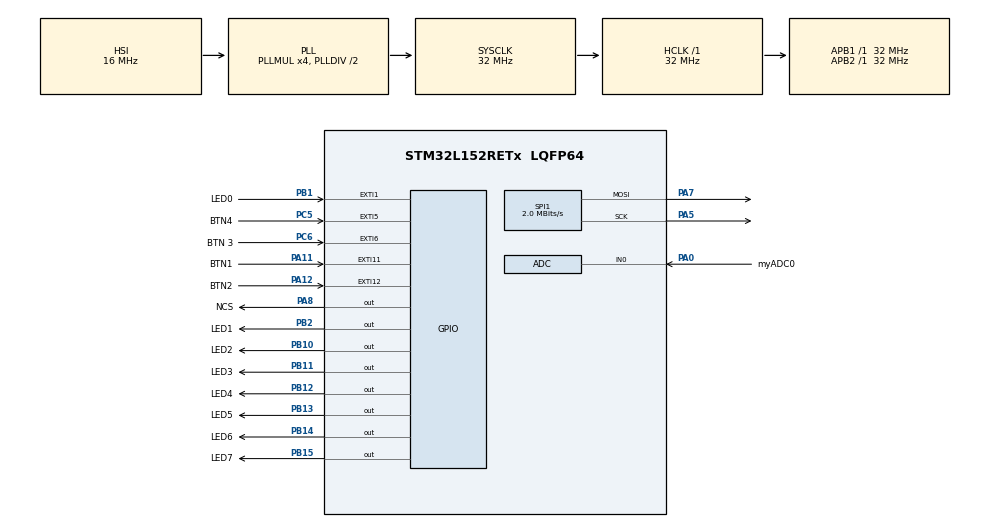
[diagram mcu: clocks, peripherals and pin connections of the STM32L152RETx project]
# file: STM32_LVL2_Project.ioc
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ADC.Channel-1\#ChannelRegularConversion=ADC_CHANNEL_0
ADC.EnableAnalogWatchDog=true
ADC.HighThreshold=4094
ADC.ITMode=ENABLE
ADC.NbrOfConversionFlag=1
ADC.Rank-1\#ChannelRegularConversion=1
ADC.SamplingTime-1\#ChannelRegularConversion=ADC_SAMPLETIME_4CYCLES
IWDG.Prescaler=IWDG_PRESCALER_8
Mcu.Family=STM32L1
Mcu.Name=STM32L152RETx
Mcu.Package=LQFP64
NVIC.ADC1_IRQn=true\:0\:0\:false\:false\:true\:true\:true\:true
NVIC.EXTI15_10_IRQn=true\:0\:0\:false\:false\:true\:true\:true\:true
NVIC.EXTI9_5_IRQn=true\:0\:0\:false\:false\:true\:true\:true\:true
NVIC.PriorityGroup=NVIC_PRIORITYGROUP_4
NVIC.TIM3_IRQn=true\:0\:0\:false\:false\:true\:true\:true\:true
NVIC.TIM6_IRQn=true\:0\:0\:false\:false\:true\:true\:true\:true
PA0-WKUP1.GPIO_Label=myADC0
PA0-WKUP1.Mode=IN0
PA0-WKUP1.Signal=ADC_IN0
PA11.GPIO_Label=BTN1
PA11.Signal=GPXTI11
PA12.GPIO_Label=BTN2
PA12.Signal=GPXTI12
PA5.Mode=TX_Only_Simplex_Unidirect_Master
PA5.Signal=SPI1_SCK
PA7.Mode=TX_Only_Simplex_Unidirect_Master
PA7.Signal=SPI1_MOSI
PA8.GPIO_Label=NCS
PA8.Signal=GPIO_Output
PB1.GPIO_Label=LED0
PB1.Signal=GPXTI1
PB10.GPIO_Label=LED2
PB10.Signal=GPIO_Output
PB11.GPIO_Label=LED3
PB11.Signal=GPIO_Output
PB12.GPIO_Label=LED4
PB12.Signal=GPIO_Output
PB13.GPIO_Label=LED5
PB13.Signal=GPIO_Output
PB14.GPIO_Label=LED6
PB14.Signal=GPIO_Output
PB15.GPIO_Label=LED7
PB15.Signal=GPIO_Output
PB2.GPIO_Label=LED1
PB2.Signal=GPIO_Output
PB4.GPIO_Label=Moteur
PB4.Signal=S_TIM3_CH1
PC5.GPIO_Label=BTN4
PC5.Signal=GPXTI5
PC6.GPIO_Label=BTN 3
PC6.Signal=GPXTI6
PC7.GPIO_Label=BUZZER
PC7.Signal=S_TIM3_CH2
ProjectManager.HeapSize=0x200
ProjectManager.StackSize=0x400
ProjectManager.TargetToolchain=STM32CubeIDE
RCC.48MHZClocksFreq_Value=32000000
RCC.AHBFreq_Value=32000000
RCC.APB1Freq_Value=32000000
RCC.APB1TimFreq_Value=32000000
RCC.APB2Freq_Value=32000000
RCC.APB2TimFreq_Value=32000000
RCC.HCLKFreq_Value=32000000
RCC.HSE_VALUE=24000000
RCC.HSI_VALUE=16000000
RCC.LSE_VALUE=32768
RCC.MSI_VALUE=2097000
RCC.PLLMUL=RCC_PLL_MUL4
RCC.SYSCLKFreq_VALUE=32000000
RCC.SYSCLKSource=RCC_SYSCLKSOURCE_PLLCLK
RCC.VCOOutputFreq_Value=64000000
SH.S_TIM3_CH1.0=TIM3_CH1
SH.S_TIM3_CH2.0=TIM3_CH2
SPI1.BaudRatePrescaler=SPI_BAUDRATEPRESCALER_16
SPI1.CalculateBaudRate=2.0 MBits/s
SPI1.Direction=SPI_DIRECTION_2LINES
SPI1.Mode=SPI_MODE_MASTER
SPI1.VirtualType=VM_MASTER
TIM3.Channel-PWM\ Generation1\ No\ Output=TIM_CHANNEL_1
TIM3.Channel-PWM\ Generation2\ No\ Output=TIM_CHANNEL_2
TIM3.Period=7
TIM3.Prescaler=32000
TIM3.Pulse-PWM\ Generation1\ No\ Output=0
TIM3.Pulse-PWM\ Generation2\ No\ Output=6400
TIM6.Period=999
TIM6.Prescaler=3200
VP_IWDG_VS_IWDG.Mode=IWDG_Activate
VP_TIM3_VS_ClockSourceINT.Mode=Internal
VP_TIM3_VS_no_output1.Mode=PWM Generation1 No Output
VP_TIM3_VS_no_output2.Mode=PWM Generation2 No Output
VP_TIM6_VS_ClockSourceINT.Mode=Enable_Timer
board=custom

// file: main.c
/* USER CODE BEGIN Header */
/**
 ******************************************************************************
 * @file           : main.c
 * @brief          : Main program body
 ******************************************************************************
 * @attention
 *
 * Copyright (c) 2024 STMicroelectronics.
 * All rights reserved.
 *
 * This software is licensed under terms that can be found in the LICENSE file
 * in the root directory of this software component.
 * If no LICENSE file comes with this software, it is provided AS-IS.
 *
 ******************************************************************************
 */
/* USER CODE END Header */
#include "main.h"

/* USER CODE BEGIN Includes */
#include <stdio.h>
#include <stdlib.h>
#include "motor.h"
/* USER CODE END Includes */

ADC_HandleTypeDef hadc;

IWDG_HandleTypeDef hiwdg;

SPI_HandleTypeDef hspi1;

TIM_HandleTypeDef htim3;
TIM_HandleTypeDef htim6;

void SystemClock_Config(void);
static void MX_GPIO_Init(void);
static void MX_ADC_Init(void);
static void MX_SPI1_Init(void);
static void MX_TIM3_Init(void);
static void MX_TIM6_Init(void);
static void MX_IWDG_Init(void);

/* USER CODE BEGIN 0 */

int _write(int file, char *ptr, int len) {
	int DataIdx;
	for (DataIdx = 0; DataIdx < len; DataIdx++) {
//__io_putchar(*ptr++);
		ITM_SendChar(*ptr++);
	}
	return len;
}

/* USER CODE END 0 */

int main(void)
{

  /* MCU Configuration--------------------------------------------------------*/

  /* Reset of all peripherals, Initializes the Flash interface and the Systick. */
  HAL_Init();

  /* USER CODE BEGIN Init */
	HAL_IWDG_Init(&hiwdg);
  /* USER CODE END Init */

  /* Configure the system clock */
  SystemClock_Config();

  /* Initialize all configured peripherals */
  MX_GPIO_Init();
  MX_ADC_Init();
  MX_SPI1_Init();
  MX_TIM3_Init();
  MX_TIM6_Init();
  MX_IWDG_Init();
  /* USER CODE BEGIN 2 */
// sleep mode
	HAL_DBGMCU_EnableDBGSleepMode();
	HAL_SuspendTick();
	HAL_PWR_EnterSLEEPMode(PWR_MAINREGULATOR_ON, PWR_SLEEPENTRY_WFI);
	SystemClock_Config(); // recommended
	HAL_ResumeTick();

	MAX7219_Handle_TypeDef max_7219_handle;

	max_7219_handle.hspi = &hspi1;

	max_7219_handle.spi_ncs_port = NCS_GPIO_Port;
	max_7219_handle.spi_ncs_pin = NCS_Pin;
	max_7219_handle.digits_count = 4;

	HAL_StatusTypeDef InitSPI = max7219_init(&max_7219_handle);

	if (InitSPI != HAL_OK)

	{
		printf("SPI error ");
		Error_Handler();

	}

	else {
		printf("SPI OK ");
		HAL_IWDG_Refresh(&hiwdg);
	}

	TIM3->CCR1 = 0;

  /* USER CODE END 2 */

  /* Infinite loop */
	while (1) {

    /* USER CODE BEGIN 3 */

		MotorControl();

	}
  /* USER CODE END 3 */
}

void SystemClock_Config(void)
{
  RCC_OscInitTypeDef RCC_OscInitStruct = {0};
  RCC_ClkInitTypeDef RCC_ClkInitStruct = {0};

  /** Configure the main internal regulator output voltage
  */
  __HAL_PWR_VOLTAGESCALING_CONFIG(PWR_REGULATOR_VOLTAGE_SCALE1);

  /** Initializes the RCC Oscillators according to the specified parameters
  * in the RCC_OscInitTypeDef structure.
  */
  RCC_OscInitStruct.OscillatorType = RCC_OSCILLATORTYPE_HSI|RCC_OSCILLATORTYPE_LSI;
  RCC_OscInitStruct.HSIState = RCC_HSI_ON;
  RCC_OscInitStruct.HSICalibrationValue = RCC_HSICALIBRATION_DEFAULT;
  RCC_OscInitStruct.LSIState = RCC_LSI_ON;
  RCC_OscInitStruct.PLL.PLLState = RCC_PLL_ON;
  RCC_OscInitStruct.PLL.PLLSource = RCC_PLLSOURCE_HSI;
  RCC_OscInitStruct.PLL.PLLMUL = RCC_PLL_MUL4;
  RCC_OscInitStruct.PLL.PLLDIV = RCC_PLL_DIV2;
  if (HAL_RCC_OscConfig(&RCC_OscInitStruct) != HAL_OK)
  {
    Error_Handler();
  }

  /** Initializes the CPU, AHB and APB buses clocks
  */
  RCC_ClkInitStruct.ClockType = RCC_CLOCKTYPE_HCLK|RCC_CLOCKTYPE_SYSCLK
                              |RCC_CLOCKTYPE_PCLK1|RCC_CLOCKTYPE_PCLK2;
  RCC_ClkInitStruct.SYSCLKSource = RCC_SYSCLKSOURCE_PLLCLK;
  RCC_ClkInitStruct.AHBCLKDivider = RCC_SYSCLK_DIV1;
  RCC_ClkInitStruct.APB1CLKDivider = RCC_HCLK_DIV1;
  RCC_ClkInitStruct.APB2CLKDivider = RCC_HCLK_DIV1;

  if (HAL_RCC_ClockConfig(&RCC_ClkInitStruct, FLASH_LATENCY_1) != HAL_OK)
  {
    Error_Handler();
  }
}

static void MX_ADC_Init(void)
{

  ADC_AnalogWDGConfTypeDef AnalogWDGConfig = {0};
  ADC_ChannelConfTypeDef sConfig = {0};

  /** Configure the global features of the ADC (Clock, Resolution, Data Alignment and number of conversion)
  */
  hadc.Instance = ADC1;
  hadc.Init.ClockPrescaler = ADC_CLOCK_ASYNC_DIV1;
  hadc.Init.Resolution = ADC_RESOLUTION_12B;
  hadc.Init.DataAlign = ADC_DATAALIGN_RIGHT;
  hadc.Init.ScanConvMode = ADC_SCAN_DISABLE;
  hadc.Init.EOCSelection = ADC_EOC_SEQ_CONV;
  hadc.Init.LowPowerAutoWait = ADC_AUTOWAIT_DISABLE;
  hadc.Init.LowPowerAutoPowerOff = ADC_AUTOPOWEROFF_DISABLE;
  hadc.Init.ChannelsBank = ADC_CHANNELS_BANK_A;
  hadc.Init.ContinuousConvMode = DISABLE;
  hadc.Init.NbrOfConversion = 1;
  hadc.Init.DiscontinuousConvMode = DISABLE;
  hadc.Init.ExternalTrigConv = ADC_SOFTWARE_START;
  hadc.Init.ExternalTrigConvEdge = ADC_EXTERNALTRIGCONVEDGE_NONE;
  hadc.Init.DMAContinuousRequests = DISABLE;
  if (HAL_ADC_Init(&hadc) != HAL_OK)
  {
    Error_Handler();
  }

  /** Configure the analog watchdog
  */
  AnalogWDGConfig.WatchdogMode = ADC_ANALOGWATCHDOG_SINGLE_REG;
  AnalogWDGConfig.Channel = ADC_CHANNEL_0;
  AnalogWDGConfig.ITMode = ENABLE;
  AnalogWDGConfig.HighThreshold = 4094;
  AnalogWDGConfig.LowThreshold = 0;
  if (HAL_ADC_AnalogWDGConfig(&hadc, &AnalogWDGConfig) != HAL_OK)
  {
    Error_Handler();
  }

  /** Configure for the selected ADC regular channel its corresponding rank in the sequencer and its sample time.
  */
  sConfig.Channel = ADC_CHANNEL_0;
  sConfig.Rank = ADC_REGULAR_RANK_1;
  sConfig.SamplingTime = ADC_SAMPLETIME_4CYCLES;
  if (HAL_ADC_ConfigChannel(&hadc, &sConfig) != HAL_OK)
  {
    Error_Handler();
  }

}

static void MX_IWDG_Init(void)
{

  hiwdg.Instance = IWDG;
  hiwdg.Init.Prescaler = IWDG_PRESCALER_8;
  hiwdg.Init.Reload = 4095;
  if (HAL_IWDG_Init(&hiwdg) != HAL_OK)
  {
    Error_Handler();
  }

}

static void MX_SPI1_Init(void)
{

  /* SPI1 parameter configuration*/
  hspi1.Instance = SPI1;
  hspi1.Init.Mode = SPI_MODE_MASTER;
  hspi1.Init.Direction = SPI_DIRECTION_2LINES;
  hspi1.Init.DataSize = SPI_DATASIZE_8BIT;
  hspi1.Init.CLKPolarity = SPI_POLARITY_LOW;
  hspi1.Init.CLKPhase = SPI_PHASE_1EDGE;
  hspi1.Init.NSS = SPI_NSS_SOFT;
  hspi1.Init.BaudRatePrescaler = SPI_BAUDRATEPRESCALER_16;
  hspi1.Init.FirstBit = SPI_FIRSTBIT_MSB;
  hspi1.Init.TIMode = SPI_TIMODE_DISABLE;
  hspi1.Init.CRCCalculation = SPI_CRCCALCULATION_DISABLE;
  hspi1.Init.CRCPolynomial = 10;
  if (HAL_SPI_Init(&hspi1) != HAL_OK)
  {
    Error_Handler();
  }

}

static void MX_TIM3_Init(void)
{

  TIM_ClockConfigTypeDef sClockSourceConfig = {0};
  TIM_MasterConfigTypeDef sMasterConfig = {0};
  TIM_OC_InitTypeDef sConfigOC = {0};

  htim3.Instance = TIM3;
  htim3.Init.Prescaler = 32000;
  htim3.Init.CounterMode = TIM_COUNTERMODE_UP;
  htim3.Init.Period = 7;
  htim3.Init.ClockDivision = TIM_CLOCKDIVISION_DIV1;
  htim3.Init.AutoReloadPreload = TIM_AUTORELOAD_PRELOAD_DISABLE;
  if (HAL_TIM_Base_Init(&htim3) != HAL_OK)
  {
    Error_Handler();
  }
  sClockSourceConfig.ClockSource = TIM_CLOCKSOURCE_INTERNAL;
  if (HAL_TIM_ConfigClockSource(&htim3, &sClockSourceConfig) != HAL_OK)
  {
    Error_Handler();
  }
  if (HAL_TIM_PWM_Init(&htim3) != HAL_OK)
  {
    Error_Handler();
  }
  sMasterConfig.MasterOutputTrigger = TIM_TRGO_RESET;
  sMasterConfig.MasterSlaveMode = TIM_MASTERSLAVEMODE_DISABLE;
  if (HAL_TIMEx_MasterConfigSynchronization(&htim3, &sMasterConfig) != HAL_OK)
  {
    Error_Handler();
  }
  sConfigOC.OCMode = TIM_OCMODE_PWM1;
  sConfigOC.Pulse = 0;
  sConfigOC.OCPolarity = TIM_OCPOLARITY_HIGH;
  sConfigOC.OCFastMode = TIM_OCFAST_DISABLE;
  if (HAL_TIM_PWM_ConfigChannel(&htim3, &sConfigOC, TIM_CHANNEL_1) != HAL_OK)
  {
    Error_Handler();
  }
  sConfigOC.Pulse = 6400;
  if (HAL_TIM_PWM_ConfigChannel(&htim3, &sConfigOC, TIM_CHANNEL_2) != HAL_OK)
  {
    Error_Handler();
  }

}

static void MX_TIM6_Init(void)
{

  TIM_MasterConfigTypeDef sMasterConfig = {0};

  htim6.Instance = TIM6;
  htim6.Init.Prescaler = 3200;
  htim6.Init.CounterMode = TIM_COUNTERMODE_UP;
  htim6.Init.Period = 999;
  htim6.Init.AutoReloadPreload = TIM_AUTORELOAD_PRELOAD_DISABLE;
  if (HAL_TIM_Base_Init(&htim6) != HAL_OK)
  {
    Error_Handler();
  }
  sMasterConfig.MasterOutputTrigger = TIM_TRGO_RESET;
  sMasterConfig.MasterSlaveMode = TIM_MASTERSLAVEMODE_DISABLE;
  if (HAL_TIMEx_MasterConfigSynchronization(&htim6, &sMasterConfig) != HAL_OK)
  {
    Error_Handler();
  }

}

static void MX_GPIO_Init(void)
{
  GPIO_InitTypeDef GPIO_InitStruct = {0};

  /* GPIO Ports Clock Enable */
  __HAL_RCC_GPIOA_CLK_ENABLE();
  __HAL_RCC_GPIOC_CLK_ENABLE();
  __HAL_RCC_GPIOB_CLK_ENABLE();

  /*Configure GPIO pin Output Level */
  HAL_GPIO_WritePin(GPIOB, LED1_Pin|LED2_Pin|LED3_Pin|LED4_Pin
                          |LED5_Pin|LED6_Pin|LED7_Pin, GPIO_PIN_RESET);

  /*Configure GPIO pin Output Level */
  HAL_GPIO_WritePin(NCS_GPIO_Port, NCS_Pin, GPIO_PIN_RESET);

  /*Configure GPIO pins : BTN4_Pin BTN_3_Pin */
  GPIO_InitStruct.Pin = BTN4_Pin|BTN_3_Pin;
  GPIO_InitStruct.Mode = GPIO_MODE_IT_RISING;
  GPIO_InitStruct.Pull = GPIO_NOPULL;
  HAL_GPIO_Init(GPIOC, &GPIO_InitStruct);

  /*Configure GPIO pin : LED0_Pin */
  GPIO_InitStruct.Pin = LED0_Pin;
  GPIO_InitStruct.Mode = GPIO_MODE_IT_RISING;
  GPIO_InitStruct.Pull = GPIO_NOPULL;
  HAL_GPIO_Init(LED0_GPIO_Port, &GPIO_InitStruct);

  /*Configure GPIO pins : LED1_Pin LED2_Pin LED3_Pin LED4_Pin
                           LED5_Pin LED6_Pin LED7_Pin */
  GPIO_InitStruct.Pin = LED1_Pin|LED2_Pin|LED3_Pin|LED4_Pin
                          |LED5_Pin|LED6_Pin|LED7_Pin;
  GPIO_InitStruct.Mode = GPIO_MODE_OUTPUT_PP;
  GPIO_InitStruct.Pull = GPIO_NOPULL;
  GPIO_InitStruct.Speed = GPIO_SPEED_FREQ_LOW;
  HAL_GPIO_Init(GPIOB, &GPIO_InitStruct);

  /*Configure GPIO pin : NCS_Pin */
  GPIO_InitStruct.Pin = NCS_Pin;
  GPIO_InitStruct.Mode = GPIO_MODE_OUTPUT_PP;
  GPIO_InitStruct.Pull = GPIO_NOPULL;
  GPIO_InitStruct.Speed = GPIO_SPEED_FREQ_LOW;
  HAL_GPIO_Init(NCS_GPIO_Port, &GPIO_InitStruct);

  /*Configure GPIO pins : BTN1_Pin BTN2_Pin */
  GPIO_InitStruct.Pin = BTN1_Pin|BTN2_Pin;
  GPIO_InitStruct.Mode = GPIO_MODE_IT_RISING;
  GPIO_InitStruct.Pull = GPIO_NOPULL;
  HAL_GPIO_Init(GPIOA, &GPIO_InitStruct);

  /* EXTI interrupt init*/
  HAL_NVIC_SetPriority(EXTI9_5_IRQn, 0, 0);
  HAL_NVIC_EnableIRQ(EXTI9_5_IRQn);

  HAL_NVIC_SetPriority(EXTI15_10_IRQn, 0, 0);
  HAL_NVIC_EnableIRQ(EXTI15_10_IRQn);

}

void Error_Handler(void)
{
	__disable_irq();
	while (1) {
	}
}
